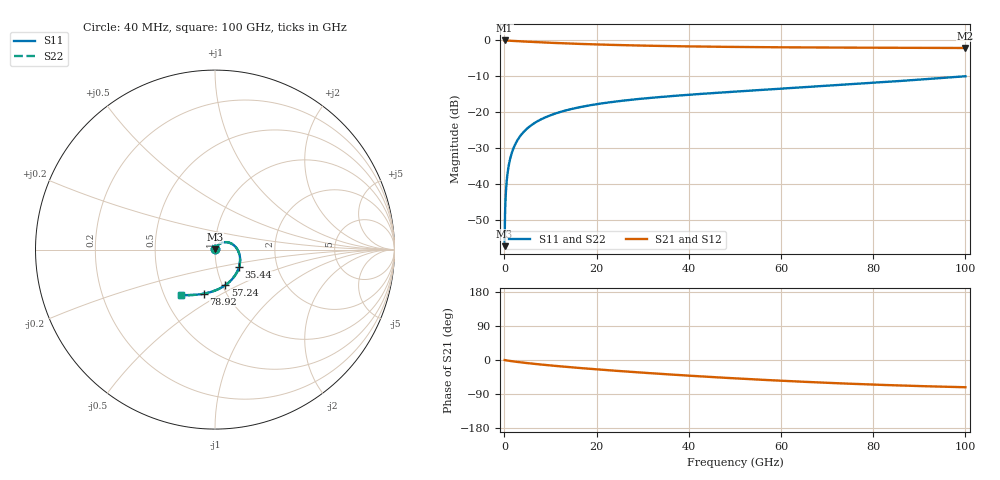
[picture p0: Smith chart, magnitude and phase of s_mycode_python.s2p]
! Created with skrf (http://scikit-rf.org).
# Hz S MA R 50.0
!freq magS11 angS11 magS21 angS21 magS12 angS12 magS22 angS22
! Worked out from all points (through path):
!   2500 points, 40 MHz to 100 GHz, reference 50 ohm
!   highest |S21| = 0.00 dB at 40 MHz (marker M1); lowest = -2.1 dB at 100 GHz (marker M2)
!   group delay of S21, straight-line fit = 1.9 ps
!   lowest |S11| = -57.4 dB at 40 MHz (marker M3), VSWR 1.00, Z = 50 + j0.129 ohm
!   |S11| at or under -10 dB: start of sweep to 99.92 GHz
!   |S22| runs from -57.4 to -10.0 dB; largest |S21 - S12| = 0
!   S11 on the Smith chart (normalised r, x): 40 MHz: 1.00, +0.00; 35.44 GHz: 1.28, -0.26; 57.24 GHz: 1.03, -0.43; 78.92 GHz: 0.79, -0.41; 100 GHz: 0.61, -0.34
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4e7  0.001343 73.4  0.9996 -0.1  0.9996 -0.1  0.001343 73.4
2.8e8  0.0069 68.9  0.9976 -0.7  0.9976 -0.7  0.0069 68.9
6e8  0.01272 65.4  0.9949 -1.4  0.9949 -1.4  0.01272 65.4
7.6e8  0.0153 64.0  0.9936 -1.7  0.9936 -1.7  0.0153 64.0
9.6e8  0.01833 62.4  0.992 -2.1  0.992 -2.1  0.01833 62.4
1.32e9  0.02333 59.8  0.989 -2.7  0.989 -2.7  0.02333 59.8
1.8e9  0.02936 56.9  0.9852 -3.5  0.9852 -3.5  0.02936 56.9
2.4e9  0.03612 53.6  0.9804 -4.5  0.9804 -4.5  0.03612 53.6
3.12e9  0.0434 50.0  0.9748 -5.6  0.9748 -5.6  0.0434 50.0
5.16e9  0.06067 41.3  0.9597 -8.5  0.9597 -8.5  0.06067 41.3
8e9  0.07949 31.0  0.9404 -12.1  0.9404 -12.1  0.07949 31.0
1.176e10  0.09878 19.2  0.918 -16.3  0.918 -16.3  0.09878 19.2
1.672e10  0.1183 5.5  0.8931 -21.5  0.8931 -21.5  0.1183 5.5
2.384e10  0.1396 -11.8  0.8653 -28.1  0.8653 -28.1  0.1396 -11.8
3.336e10  0.1614 -32.0  0.839 -36.2  0.839 -36.2  0.1614 -32.0
3.544e10  0.1656 -36.1  0.8344 -37.8  0.8344 -37.8  0.1656 -36.1
5.004e10  0.193 -62.3  0.8116 -48.4  0.8116 -48.4  0.193 -62.3
5.724e10  0.2064 -73.9  0.8045 -53.0  0.8045 -53.0  0.2064 -73.9
6.668e10  0.2252 -87.9  0.7978 -58.4  0.7978 -58.4  0.2252 -87.9
7.892e10  0.2533 -104.1  0.792 -64.4  0.792 -64.4  0.2533 -104.1
8.336e10  0.2649 -109.5  0.7903 -66.3  0.7903 -66.3  0.2649 -109.5
1e11  0.3165 -127.0  0.7846 -71.9  0.7846 -71.9  0.3165 -127.0
